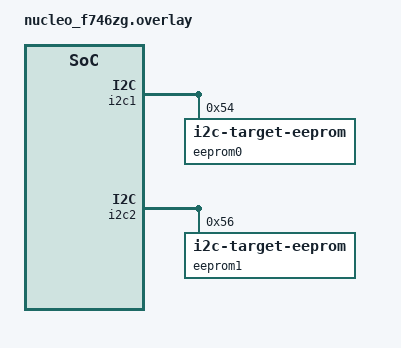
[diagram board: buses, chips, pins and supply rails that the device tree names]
/*
 * Copyright (c) 2020 Nordic Semiconductor ASA
 * SPDX-License-Identifier: Apache-2.0
 */

/* I2C bus pins are exposed on the ST morpho header.
 *
 *  Bus        SDA               SCL
 *          Pin   Hdr         Pin   Hdr
 *  i2c1    PB9   CN7:4      PB8   CN7:2
 *  i2c2    PB11  CN10:34    PB10  CN10:32
 *
 * Short Pin PB9 to PB11, and PB8 to PB10, for the test to pass.
 */

#define IC2_TEST_0_DMA_TX <&dma1 6 1 STM32_DMA_PERIPH_TX STM32_DMA_FIFO_FULL>
#define IC2_TEST_0_DMA_RX <&dma1 5 1 STM32_DMA_PERIPH_RX STM32_DMA_FIFO_FULL>

i2c_test_0: &i2c1 {
	dmas = IC2_TEST_0_DMA_TX, IC2_TEST_0_DMA_RX;
	dma-names = "tx", "rx";

	eeprom0: eeprom@54 {
		compatible = "zephyr,i2c-target-eeprom";
		reg = <0x54>;
		size = <256>;
	};
};

#define IC2_TEST_1_DMA_TX <&dma1 7 7 STM32_DMA_PERIPH_TX STM32_DMA_FIFO_FULL>
#define IC2_TEST_1_DMA_RX <&dma1 3 7 STM32_DMA_PERIPH_RX STM32_DMA_FIFO_FULL>

i2c_test_1: &i2c2 {
	dmas = IC2_TEST_1_DMA_TX, IC2_TEST_1_DMA_RX;
	dma-names = "tx", "rx";

	eeprom1: eeprom@56 {
		compatible = "zephyr,i2c-target-eeprom";
		reg = <0x56>;
		size = <256>;
	};
};

&dma1 {
	status = "okay";
};
